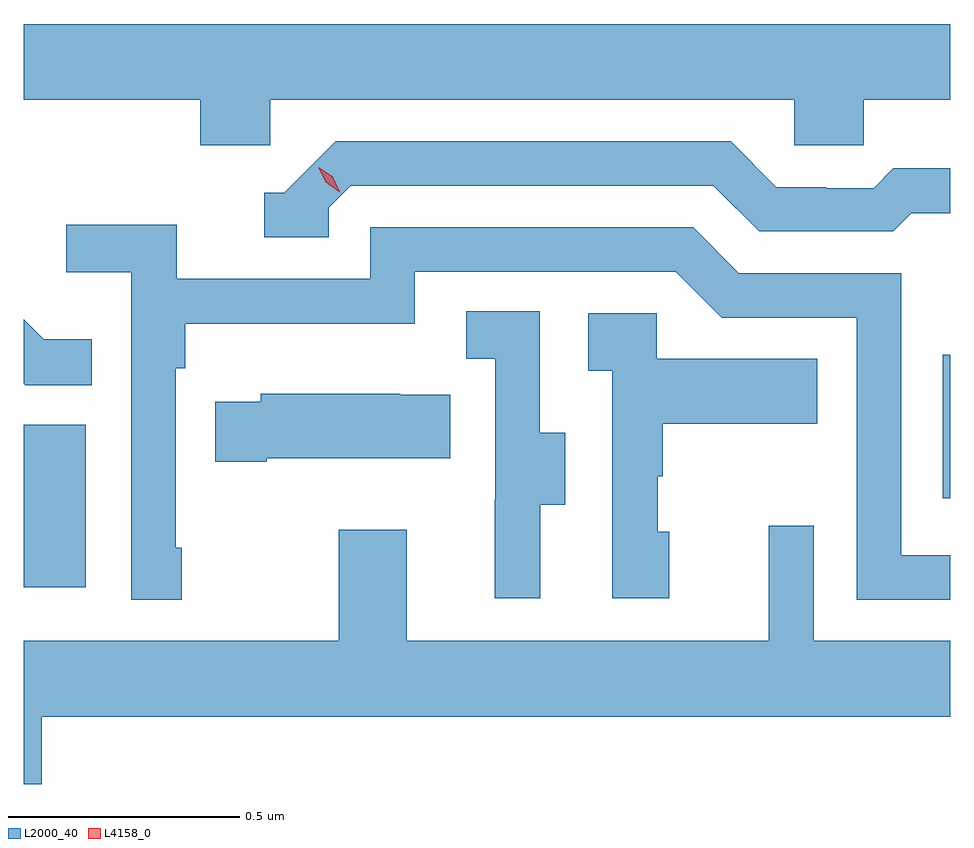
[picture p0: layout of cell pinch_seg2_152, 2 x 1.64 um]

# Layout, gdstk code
import gdstk
lib = gdstk.Library(unit=1e-6, precision=1e-09)
def R(c, l, rs):  # rectangles x0, y0, x1, y1
    for r in rs: c.add(gdstk.rectangle(r[:2], r[2:], *l))
def P(c, l, *ps):  # polygons
    for p in ps: c.add(gdstk.Polygon(p, *l))
L2000_40 = (2000, 40)
L4158_0 = (4158, 0)

pinch_seg2_152 = lib.new_cell('pinch_seg2_152')
R(pinch_seg2_152, L2000_40, [(1125.074,635.928,1125.208,636.279), (1127.058,636.12,1127.074,636.43)])
P(pinch_seg2_152, L2000_40, [(1125.606,636.98),(1126.737,636.98),(1126.737,636.882),(1126.887,636.882),(1126.887,636.98),(1127.074,636.98),(1127.074,637.144),(1125.074,637.144),(1125.074,636.98),(1125.455,636.98),(1125.455,636.882),(1125.606,636.882)],
  [(1125.732,636.747),(1125.78,636.795),(1126.563,636.795),(1126.662,636.696),(1126.951,636.696),(1126.99,636.735),(1127.074,636.735),(1127.074,636.832),(1126.951,636.832),(1126.909,636.789),(1126.806,636.789),(1126.806,636.792),(1126.699,636.792),(1126.6,636.891),(1125.747,636.891),(1125.636,636.78),(1125.593,636.78),(1125.593,636.684),(1125.732,636.684)],
  [(1125.415,636.013),(1125.402,636.013),(1125.402,636.401),(1125.422,636.401),(1125.422,636.497),(1125.918,636.497),(1125.918,636.609),(1126.482,636.609),(1126.581,636.51),(1126.872,636.51),(1126.872,635.901),(1127.074,635.901),(1127.074,635.997),(1126.968,635.997),(1126.968,636.606),(1126.618,636.606),(1126.519,636.705),(1125.822,636.705),(1125.822,636.594),(1125.404,636.594),(1125.404,636.71),(1125.165,636.71),(1125.165,636.608),(1125.306,636.608),(1125.306,635.901),(1125.415,635.901)],
  [(1126.189,636.106),(1126.243,636.106),(1126.243,636.261),(1126.188,636.261),(1126.188,636.524),(1126.029,636.524),(1126.029,636.421),(1126.092,636.421),(1126.092,636.117),(1126.091,636.117),(1126.091,635.904),(1126.189,635.904)],
  [(1126.468,636.048),(1126.443,636.048),(1126.443,636.167),(1126.453,636.167),(1126.453,636.281),(1126.787,636.281),(1126.787,636.421),(1126.44,636.421),(1126.44,636.519),(1126.293,636.519),(1126.293,636.395),(1126.344,636.395),(1126.344,635.904),(1126.468,635.904)],
  [(1125.221,636.463),(1125.117,636.463),(1125.074,636.506),(1125.074,636.367),(1125.077,636.364),(1125.221,636.364)],
  [(1125.598,636.206),(1125.995,636.206),(1125.995,636.343),(1125.887,636.343),(1125.887,636.346),(1125.585,636.346),(1125.585,636.328),(1125.487,636.328),(1125.487,636.199),(1125.598,636.199)],
  [(1125.113,635.648),(1127.074,635.648),(1127.074,635.812),(1126.779,635.812),(1126.779,636.061),(1126.682,636.061),(1126.682,635.812),(1125.901,635.812),(1125.901,636.052),(1125.754,636.052),(1125.754,635.812),(1125.074,635.812),(1125.074,635.503),(1125.113,635.503)])
P(pinch_seg2_152, L4158_0, [(1125.756,636.781),(1125.726,636.802),(1125.711,636.834),(1125.711,636.835),(1125.711,636.835),(1125.741,636.814),(1125.756,636.782),(1125.756,636.781)])

lib.write_gds('pinch_seg2_152.gds')
